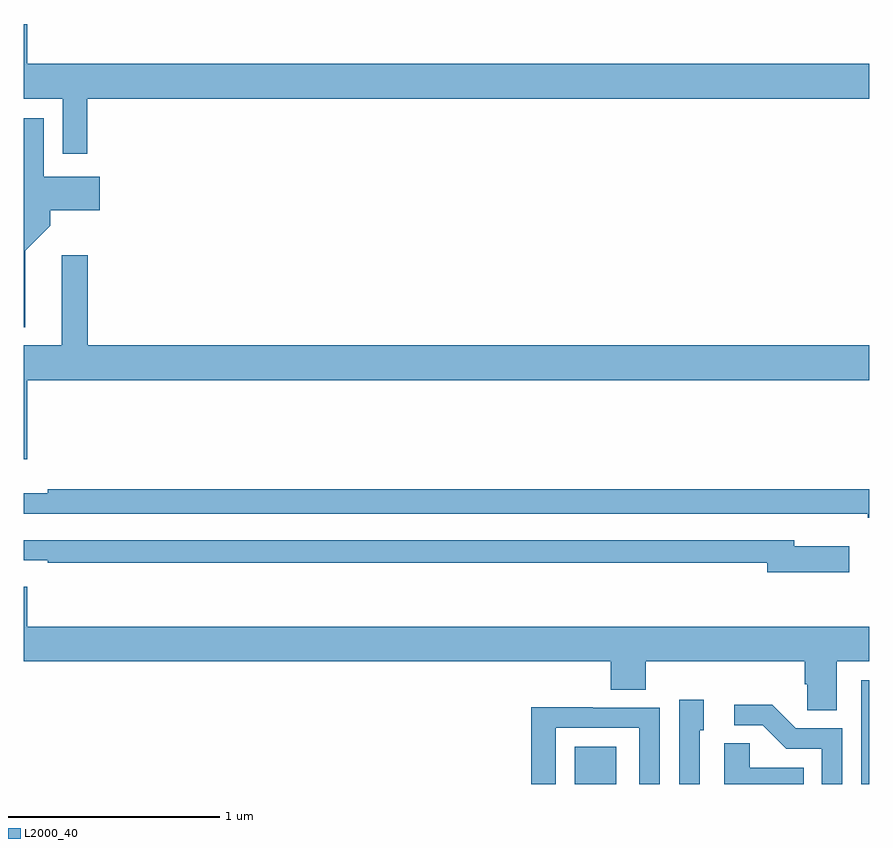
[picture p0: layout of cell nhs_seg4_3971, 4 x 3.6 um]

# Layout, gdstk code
import gdstk
lib = gdstk.Library(unit=1e-6, precision=1e-09)
def R(c, l, rs):  # rectangles x0, y0, x1, y1
    for r in rs: c.add(gdstk.rectangle(r[:2], r[2:], *l))
def P(c, l, *ps):  # polygons
    for p in ps: c.add(gdstk.Polygon(p, *l))
L2000_40 = (2000, 40)

nhs_seg4_3971 = lib.new_cell('nhs_seg4_3971')
R(nhs_seg4_3971, L2000_40, [(323.606,802.9,323.803,803.077), (324.963,802.9,325,803.391)])
P(nhs_seg4_3971, L2000_40, [(321.299,806.144),(325,806.144),(325,806.308),(321.016,806.308),(321.016,806.497),(321,806.497),(321,806.144),(321.183,806.144),(321.183,805.884),(321.299,805.884)],
  [(321.007,805.424),(321.125,805.542),(321.125,805.616),(321.358,805.616),(321.358,805.774),(321.094,805.774),(321.094,806.05),(321,806.05),(321,805.061),(321.007,805.061)],
  [(321.016,804.812),(325,804.812),(325,804.976),(321.302,804.976),(321.302,805.402),(321.179,805.402),(321.179,804.976),(321,804.976),(321,804.438),(321.016,804.438)],
  [(325,804.296),(321.112,804.296),(321.112,804.277),(321,804.277),(321,804.18),(324.742,804.18),(324.742,804.179),(324.994,804.179),(324.994,804.16),(325,804.16)],
  [(324.907,804.025),(324.646,804.025),(324.646,804.054),(321,804.054),(321,803.958),(321.112,803.958),(321.112,803.946),(324.518,803.946),(324.518,803.903),(324.907,803.903)],
  [(324.847,803.48),(325,803.48),(325,803.644),(321.016,803.644),(321.016,803.833),(321,803.833),(321,803.48),(323.777,803.48),(323.777,803.347),(323.942,803.347),(323.942,803.48),(324.695,803.48),(324.695,803.371),(324.708,803.371),(324.708,803.248),(324.847,803.248)],
  [(324.198,803.154),(324.217,803.154),(324.217,803.299),(324.102,803.299),(324.102,802.9),(324.198,802.9)],
  [(324.873,803.163),(324.654,803.163),(324.541,803.276),(324.363,803.276),(324.363,803.178),(324.497,803.178),(324.608,803.067),(324.777,803.067),(324.777,802.9),(324.873,802.9)],
  [(323.517,803.166),(323.913,803.166),(323.913,802.9),(324.009,802.9),(324.009,803.262),(323.693,803.262),(323.693,803.264),(323.401,803.264),(323.401,802.9),(323.517,802.9)],
  [(324.692,802.978),(324.435,802.978),(324.435,803.093),(324.314,803.093),(324.314,802.9),(324.692,802.9)])

lib.write_gds('nhs_seg4_3971.gds')
